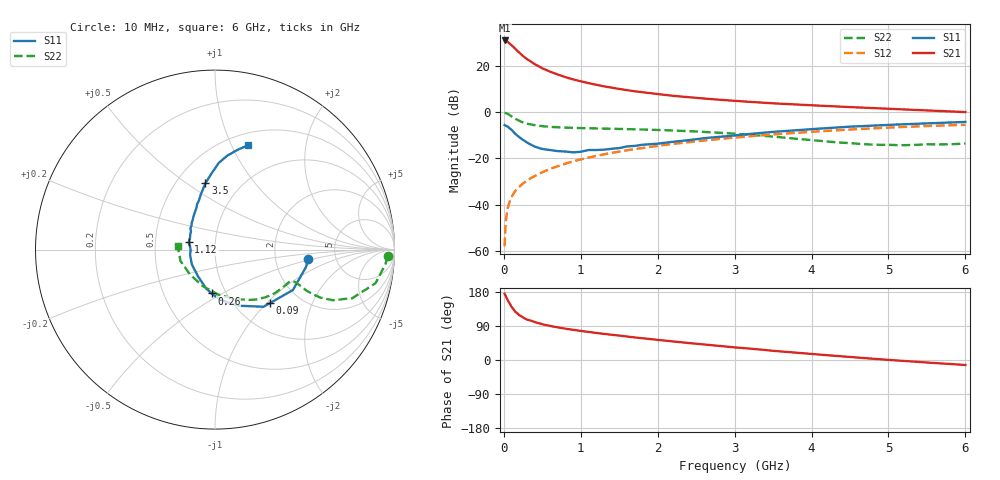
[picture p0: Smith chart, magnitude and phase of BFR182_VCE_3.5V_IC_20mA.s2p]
! Infineon Technologies  Discrete & RF Semiconductors
! BFR182
! VCE =  3.5 V,  IC =  20 mA
! Common Emitter S-Parameters:  Nov 2015
# GHz  S  MA  R  50
!  f  S11  S21  S12  S22
! GHz  MAG  ANG  MAG  ANG  MAG  ANG  MAG  ANG
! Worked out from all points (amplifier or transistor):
!   210 points, 10 MHz to 6 GHz, reference 50 ohm
!   highest |S21| = 30.8 dB at 10 MHz (marker M1)
!   |S21| within 3 dB of that: start of sweep to 129.6 MHz
!   unconditionally stable (mu >= 1): 558.3 MHz to 2.492 GHz
!   at 185 MHz: K = 0.70, MSG = 29.3 dB, |S12| = -32.7 dB
!   at 1.52 GHz: K = 1.05, MAG = 12.0 dB, |S12| = -16.9 dB
!   at 6 GHz: K = 0.89, MSG = 2.7 dB, |S12| = -5.5 dB
!   S11 on the Smith chart (normalised r, x): 10 MHz: 3.12, -0.44; 90 MHz: 1.42, -1.04; 260 MHz: 0.86, -0.44; 1.12 GHz: 0.74, +0.06; 3.5 GHz: 0.69, +0.59; 6 GHz: 0.62, +1.16
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0.01  0.5226 -5.6  34.58 175.0  0.0013 87.5  0.9638 -2.2
0.02  0.516 -10.9  34.24 170.3  0.0032 83.7  0.9526 -4.9
0.05  0.4891 -27.4  32.48 157.6  0.0085 78.7  0.9141 -11.8
0.09  0.4267 -44.6  28.29 144.1  0.0135 74.2  0.8307 -17.8
0.1  0.4181 -49.6  27.53 140.2  0.0148 73.6  0.8115 -19.5
0.15  0.3382 -67.6  22.65 127.0  0.0202 71.7  0.7124 -23.3
0.2  0.2881 -81.3  18.87 118.4  0.0246 70.5  0.6433 -24.5
0.26  0.245 -94.5  15.47 111.0  0.0299 70.9  0.5883 -24.4
0.3  0.2213 -103.2  13.73 106.8  0.0334 71.9  0.5607 -24.2
0.4  0.1809 -120.1  10.73 100.0  0.0419 72.6  0.5187 -23.1
0.5  0.1606 -134.6  8.702 94.2  0.0505 73.2  0.4938 -22.3
0.7  0.1442 -159.8  6.39 86.0  0.0682 73.5  0.468 -22.2
0.88  0.1366 -176.6  5.139 80.1  0.0849 72.8  0.4566 -22.8
1.02  0.1419 171.4  4.483 76.2  0.0973 72.5  0.4499 -23.8
1.12  0.152 163.9  4.114 73.6  0.1064 71.9  0.4457 -24.7
1.6  0.1816 138.8  2.94 61.7  0.1503 68.5  0.4288 -30.3
2.02  0.2106 125.8  2.404 52.7  0.1891 64.8  0.411 -36.6
3.1  0.3254 103.4  1.693 31.7  0.2908 54.0  0.3318 -57.3
3.5  0.3735 98.2  1.537 24.3  0.329 49.7  0.2966 -68.2
4.1  0.4388 91.2  1.369 14.2  0.3841 42.3  0.2406 -90.1
5.1  0.5369 81.3  1.157 -1.1  0.4701 29.9  0.1942 -139.9
6  0.6114 72.3  0.995 -13.2  0.53 17.5  0.2101 173.8
